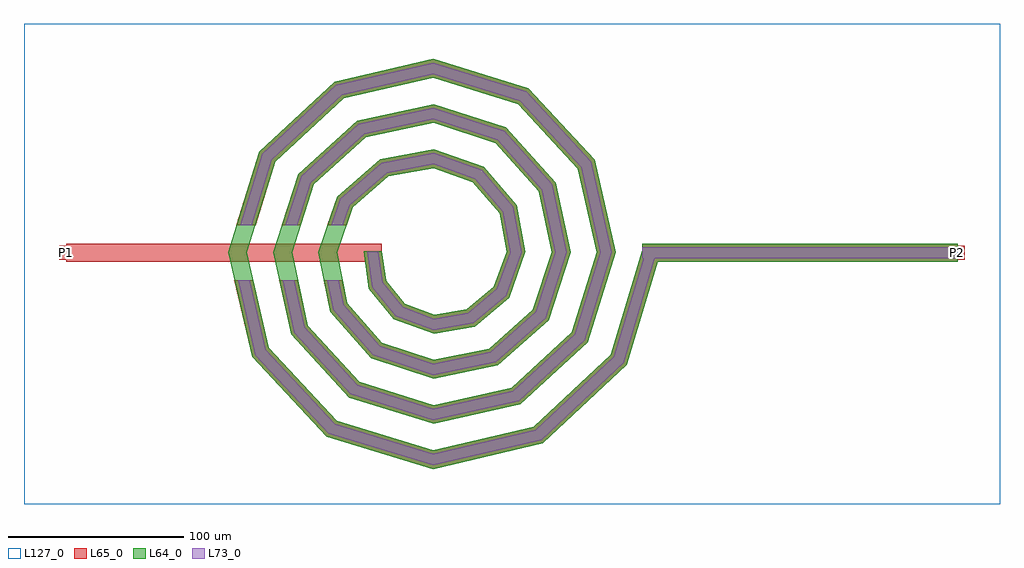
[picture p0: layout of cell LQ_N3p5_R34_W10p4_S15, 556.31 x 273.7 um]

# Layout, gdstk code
import gdstk
lib = gdstk.Library(unit=1e-6, precision=1e-09)
def R(c, l, rs):  # rectangles x0, y0, x1, y1
    for r in rs: c.add(gdstk.rectangle(r[:2], r[2:], *l))
def P(c, l, *ps):  # polygons
    for p in ps: c.add(gdstk.Polygon(p, *l))
L64_0 = (64, 0)
L65_0 = (65, 0)
L73_0 = (73, 0)
L127_0 = (127, 0)

lq_n3p5_r34_w10p4_s15 = lib.new_cell('LQ_N3p5_R34_W10p4_S15')
R(lq_n3p5_r34_w10p4_s15, L64_0, [(119.116,-5.2,299.116,5.2)])
P(lq_n3p5_r34_w10p4_s15, L64_0, [(-26.707,-16.096),(-16.178,-29.128),(0.525,-35.453),(19.228,-32.306),(34.646,-19.454),(41.871,0.454),(37.897,22.382),(22.714,40.176),(0.4,48.29),(-25.548,43.482),(-45.713,25.964),(-54.711,0.357),(-49.062,-28.725),(-29.207,-51.255),(0.323,-61.132),(31.907,-54.639),(56.801,-32.444),(67.554,0.295),(60.214,35.095),(35.677,62.35),(0.271,73.976),(-38.287,65.787),(-67.902,38.906),(-80.398,0.251),(-71.359,-41.481),(-42.133,-73.454),(0.233,-86.821),(44.678,-76.929),(79.009,-45.358),(93.243,0.218),(82.499,47.877),(48.582,84.564),(0.205,99.666),(-51.077,88.067),(-90.12,51.804),(-106.089,0.193),(-93.635,-54.279),(-55.025,-95.677),(0.182,-112.512),(57.481,-99.203),(101.234,-58.244),(119.339,1.508),(129.292,-1.508),(110.378,-63.93),(62.552,-108.702),(0.182,-123.273),(-60.727,-104.811),(-103.144,-59.332),(-116.85,0.193),(-99.242,57.525),(-56.11,97.587),(0.205,110.426),(54.323,93.673),(92.03,52.887),(104.003,0.218),(88.103,-51.124),(49.663,-86.474),(0.233,-97.579),(-47.926,-82.532),(-80.919,-46.437),(-91.155,0.251),(-76.96,44.73),(-43.208,75.366),(0.271,84.731),(41.536,71.386),(69.814,39.976),(78.307,0.295),(65.81,-38.346),(36.741,-64.263),(0.323,-71.882),(-35.159,-60.23),(-58.715,-33.501),(-65.457,0.357),(-54.648,31.979),(-30.254,53.17),(0.4,59.032),(28.806,49.06),(47.63,26.997),(52.605,0.454),(43.464,-25.643),(23.727,-42.095),(0.525,-46.176),(-22.496,-37.856),(-36.57,-20.437),(-39.534,0.775),(-29.25,0.775)])
R(lq_n3p5_r34_w10p4_s15, L65_0, [(-209.192,-5.2,-29.192,5.2), (119.116,-5.2,299.116,5.2), (-213.192,-4,-205.192,4), (295.116,-4,303.116,4)])
P(lq_n3p5_r34_w10p4_s15, L65_0, [(-93.635,-54.279),(-55.025,-95.677),(0.182,-112.512),(57.481,-99.203),(101.234,-58.244),(119.339,1.508),(129.292,-1.508),(110.378,-63.93),(62.552,-108.702),(0.182,-123.273),(-60.727,-104.811),(-103.144,-59.332),(-113.213,-15.6),(-102.541,-15.6)],
  [(-71.359,-41.481),(-42.133,-73.454),(0.233,-86.821),(44.678,-76.929),(79.009,-45.358),(93.243,0.218),(82.499,47.877),(48.582,84.564),(0.205,99.666),(-51.077,88.067),(-90.12,51.804),(-101.239,15.6),(-112.118,15.6),(-99.242,57.525),(-56.11,97.587),(0.205,110.426),(54.324,93.673),(92.03,52.887),(104.003,0.218),(88.103,-51.124),(49.663,-86.474),(0.233,-97.579),(-47.926,-82.532),(-80.919,-46.437),(-87.68,-15.6),(-77.033,-15.6)],
  [(-49.062,-28.725),(-29.207,-51.255),(0.323,-61.132),(31.907,-54.639),(56.801,-32.444),(67.554,0.295),(60.214,35.095),(35.677,62.35),(0.271,73.976),(-38.287,65.787),(-67.902,38.906),(-75.34,15.6),(-86.257,15.6),(-76.96,44.73),(-43.208,75.366),(0.271,84.731),(41.536,71.386),(69.814,39.976),(78.307,0.295),(65.81,-38.346),(36.741,-64.263),(0.323,-71.883),(-35.159,-60.231),(-58.715,-33.501),(-62.28,-15.6),(-51.676,-15.6)],
  [(-16.178,-29.128),(0.525,-35.453),(19.228,-32.306),(34.646,-19.454),(41.871,0.454),(37.897,22.382),(22.714,40.176),(0.4,48.29),(-25.548,43.482),(-45.713,25.964),(-49.256,15.6),(-60.247,15.6),(-54.648,31.979),(-30.254,53.17),(0.4,59.032),(28.806,49.06),(47.63,26.997),(52.605,0.454),(43.464,-25.643),(23.727,-42.095),(0.525,-46.176),(-22.496,-37.856),(-36.57,-20.437),(-39.534,0.775),(-29.25,0.775),(-26.707,-16.096)])
R(lq_n3p5_r34_w10p4_s15, L73_0, [(119.116,-3.2,299.116,3.2)])
P(lq_n3p5_r34_w10p4_s15, L73_0, [(-95.464,-55.251),(-56.121,-97.433),(0.112,-114.581),(58.457,-101.029),(102.993,-59.338),(121.253,0.928),(127.378,0.928),(108.62,-62.837),(61.577,-106.875),(0.112,-121.204),(-59.63,-103.054),(-101.315,-58.36),(-111.161,-15.6),(-104.594,-15.6)],
  [(-73.197,-42.434),(-43.247,-75.2),(0.144,-88.89),(45.637,-78.765),(80.758,-46.467),(95.313,0.134),(84.332,48.84),(49.686,86.316),(0.126,101.735),(-52.045,89.898),(-91.874,52.904),(-103.331,15.6),(-110.026,15.6),(-97.488,56.424),(-55.142,95.756),(0.126,108.357),(53.219,91.921),(90.197,51.924),(101.934,0.134),(86.354,-50.015),(48.704,-84.639),(0.144,-95.51),(-46.812,-80.787),(-79.081,-45.484),(-85.633,-15.6),(-79.081,-15.6)],
  [(-50.919,-29.643),(-30.352,-52.981),(0.199,-63.2),(32.837,-56.49),(58.534,-33.579),(69.622,0.181),(62.06,36.034),(36.803,64.088),(0.167,76.044),(-39.233,67.629),(-69.644,40.026),(-77.439,15.6),(-84.157,15.6),(-75.218,43.61),(-42.262,73.524),(0.167,82.663),(40.409,69.648),(67.968,39.038),(76.239,0.181),(64.077,-37.211),(35.812,-62.412),(0.199,-69.815),(-34.015,-58.505),(-56.859,-32.582),(-60.241,-15.6),(-53.715,-15.6)],
  [(-17.393,-30.807),(0.323,-37.515),(20.094,-34.189),(36.342,-20.644),(43.935,0.28),(39.769,23.269),(23.886,41.884),(0.246,50.356),(-26.453,45.345),(-47.431,27.121),(-51.37,15.6),(-58.133,15.6),(-52.929,30.822),(-29.349,51.307),(0.246,56.966),(27.634,47.351),(45.758,26.11),(50.541,0.28),(41.768,-24.453),(22.862,-40.213),(0.323,-44.114),(-21.281,-36.178),(-34.673,-19.602),(-37.556,0.477),(-31.227,0.477),(-28.603,-16.931)])
R(lq_n3p5_r34_w10p4_s15, L127_0, [(-233.192,-143.273,323.116,130.426)])
lq_n3p5_r34_w10p4_s15.add(gdstk.Label('P2', (299.116,0), layer=65, texttype=0))
lq_n3p5_r34_w10p4_s15.add(gdstk.Label('P1', (-209.192,0), layer=65, texttype=0))
lq_n3p5_r34_w10p4_s15.add(gdstk.Label('P2', (303.116,0), layer=145, texttype=0))
lq_n3p5_r34_w10p4_s15.add(gdstk.Label('P1', (-213.192,0), layer=145, texttype=0))

lib.write_gds('LQ_N3p5_R34_W10p4_S15.gds')
